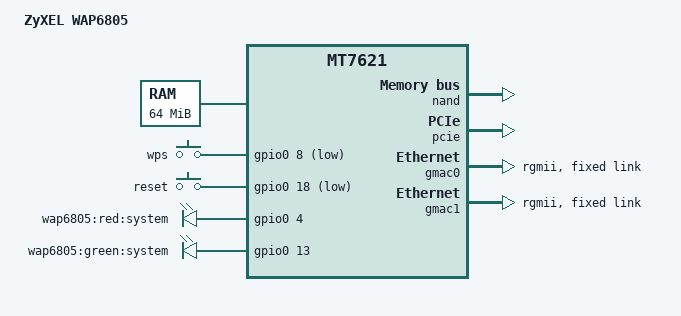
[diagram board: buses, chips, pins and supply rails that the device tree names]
/dts-v1/;

#include "mt7621.dtsi"

#include <dt-bindings/gpio/gpio.h>
#include <dt-bindings/input/input.h>

/ {
	compatible = "zyxel,wap6805", "mediatek,mt7621-soc";
	model = "ZyXEL WAP6805";

	memory@0 {
		device_type = "memory";
		reg = <0x0 0x4000000>;
	};

	chosen {
		bootargs = "console=ttyS0,57600";
	};

	gpio-keys-polled {
		compatible = "gpio-keys-polled";
		#address-cells = <1>;
		#size-cells = <0>;
		poll-interval = <20>;

		wps {
                        label = "wps";
                        gpios = <&gpio0 8 GPIO_ACTIVE_LOW>;
                        linux,code = <KEY_WPS_BUTTON>;
                };

		reset {
			label = "reset";
			gpios = <&gpio0 18 GPIO_ACTIVE_LOW>;
			linux,code = <KEY_RESTART>;
		};
	};

        aliases {
                led-status = &led_system;
        };

	gpio-leds {
		compatible = "gpio-leds";

		system_red {
			label = "wap6805:red:system";
			gpios = <&gpio0 4 GPIO_ACTIVE_HIGH>;
		};

		led_system: system_green {
			label = "wap6805:green:system";
			gpios = <&gpio0 13 GPIO_ACTIVE_HIGH>;
		};
	};
};

&nand {
	status = "okay";

	partitions {
		compatible = "fixed-partitions";
		#address-cells = <1>;
		#size-cells = <1>;

		partition@0 {
			label = "Bootloader";
			reg = <0x0 0x100000>;
			read-only;
		};

		partition@100000 {
			label = "MRD";
			reg = <0x100000 0x100000>;
			read-only;
		};

		factory: partition@200000 {
			label = "Factory";
			reg = <0x200000 0x100000>;
			read-only;
		};

		partition@300000 {
			label = "Config";
			reg = <0x300000 0x100000>;
		};

		partition@400000 {
			label = "firmware";
			reg = <0x400000 0x2000000 >;
		};

		partition@2400000 {
			label = "Kernel2";
			reg = <0x2400000 0x2000000 >;
		};

		partition@4400000 {
			label = "Private";
			reg = <0x4400000 0x100000>;
		};

		partition@4500000 {
			label = "Log";
			reg = <0x4500000 0x1000000>;
		};

		partition@5500000 {
			label = "App";
			reg = <0x5500000 0x2b00000>;
		};
	};
};

&pcie {
        status = "okay";
	pcie0 {
                mt76@0,0 {
                        mediatek,mtd-eeprom = <&factory 0>;
                };
        };

};

&ethernet {
	gmac0: mac@0 {
		compatible = "mediatek,eth-mac";
		reg = <0>;
		phy-mode = "rgmii";
		mtd-mac-address = <&factory 0xe000>;
		fixed-link {
			speed = <1000>;
			full-duplex;
			pause;
		};
	};
	gmac1: mac@1 {
		compatible = "mediatek,eth-mac";
		reg = <1>;
		mtd-mac-address = <&factory 0xe000>;
		mtd-mac-address-increment = <1>;
		phy-mode = "rgmii";
		fixed-link {
			speed = <1000>;
			full-duplex;
			pause;
		};
	};
};

&phy1f {
	compatible = "mediatek,mt7530";
	#address-cells = <1>;
	#size-cells = <0>;

	ports {
		#address-cells = <1>;
		#size-cells = <0>;

		port@0 {
			reg = <0>;
			label = "lan0";
			cpu = <&cpu_port0>;
		};
		port@1 {
			reg = <1>;
			label = "lan1";
			cpu = <&cpu_port0>;
		};
		port@2 {
			reg = <2>;
			label = "lan2";
			cpu = <&cpu_port0>;
		};
		port@3 {
			reg = <3>;
			label = "lan3";
			cpu = <&cpu_port0>;
		};
		cpu_port0: port@6 {
			reg = <6>;
			label = "cpu";
			ethernet = <&gmac0>;
		};
	};
};

&xhci {
       status = "disabled";
};

&pinctrl {
	state_default: pinctrl0 {
		gpio {
			ralink,group = "i2c", "uart3", "jtag", "wdt", "spi", "sdhci";
			ralink,function = "gpio";
		};
	};
};
